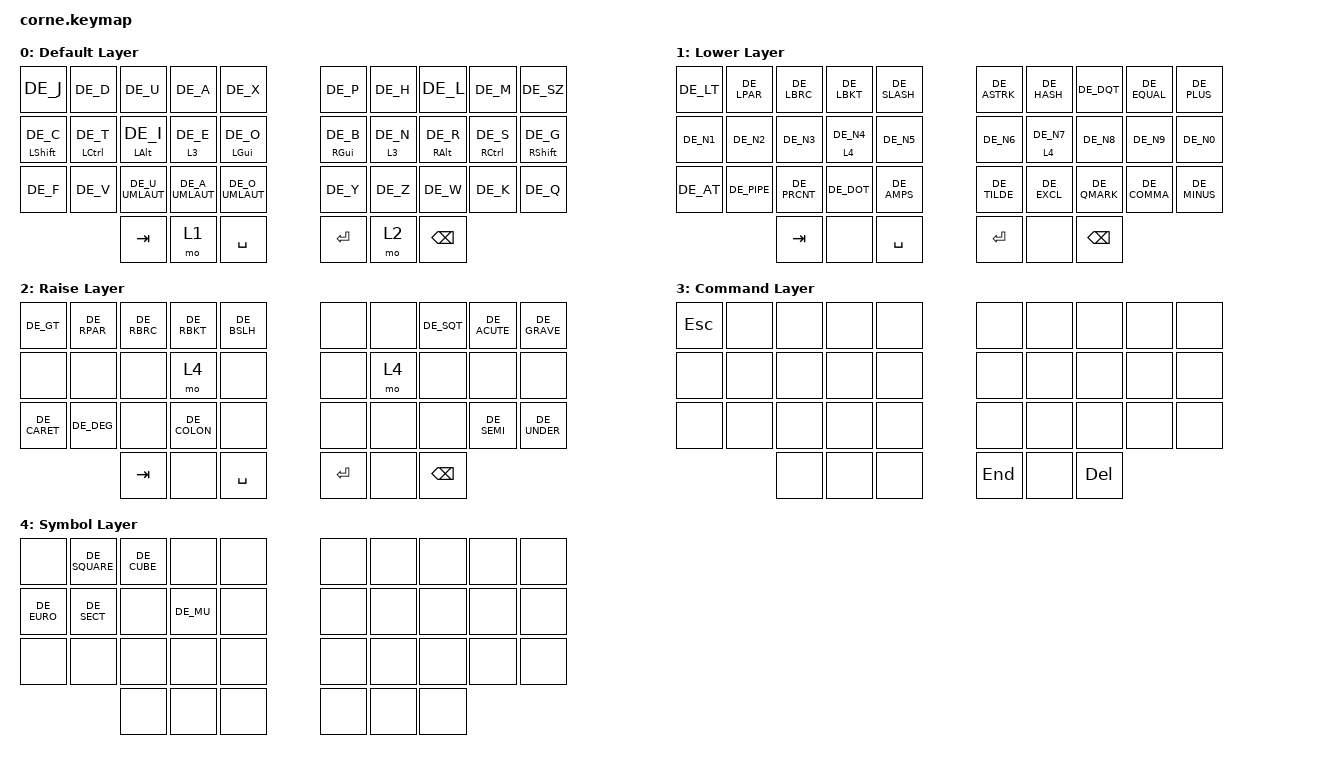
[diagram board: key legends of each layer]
/*
 * Copyright (c) 2020 The ZMK Contributors
 *
 * SPDX-License-Identifier: MIT
 */
//additional includes

#include <dt-bindings/zmk/behaviors.h>
#include <behaviors.dtsi>
#include <dt-bindings/zmk/keys.h>
#include <dt-bindings/zmk/bt.h>

//additional includes
#include "keys_de.h"
#include <dt-bindings/zmk/behaviors.h>

/* Custom Defined Behaviors */

/ {
    chosen { zmk,matrix_transform = &five_column_transform; };

    behaviors {
        hml: home_row_mod_left {
            compatible = "zmk,behavior-hold-tap";
            #binding-cells = <2>;
            flavor = "balanced";
            require-prior-idle-ms = <150>;
            tapping-term-ms = <280>;
            quick-tap-ms = <175>;
            bindings = <&kp>, <&kp>;

            hold-trigger-key-positions = <6 7 8 9 10 11>; // List of keys on the right side of the keyboard
            hold-trigger-on-release;
        };

        hmr: home_row_mod_right {
            compatible = "zmk,behavior-hold-tap";
            #binding-cells = <2>;
            flavor = "balanced";
            require-prior-idle-ms = <150>;
            tapping-term-ms = <280>;
            quick-tap-ms = <175>;
            bindings = <&kp>, <&kp>;

            hold-trigger-key-positions = <0 1 2 3 4 5>; // List of keys on the left side of the keyboard
            hold-trigger-on-release;
        };
    };

    keymap {
        compatible = "zmk,keymap";

        // 0

        default_layer {
            display-name = "Default Layer";

            // -----------------------------------------------------------------------------------------
            // | SHFT| CRTL| ALT | CMD | WDS |   | WDS | CMD | ALT | CRTL|RSHFT|
            //
            // |  J  |  D  |  U  |  A  |  X  |   |  P  |  H  |  L  |  M  |  ß  |
            // |  C  |  T  |  I  |  E  |  O  |   |  B  |  N  |  R  |  S  |  G  |
            // |  F  |  V  |  Ü  |  Ä  |  Ö  |   |  Y  |  Z  |  W  |  K  |  Q  |
            //             | TAB | LWR | SPC |   | ENT | RSE | BSPC|

            bindings = <
  &kp DE_J         &kp DE_D         &kp DE_U         &kp DE_A         &kp DE_X             &kp DE_P        &kp DE_H    &kp DE_L        &kp DE_M         &kp DE_SZ
  &hml LSHFT DE_C  &hml LCTRL DE_T  &hml LALT DE_I   &lt 3 DE_E       &hml LGUI DE_O       &hmr RGUI DE_B  &lt 3 DE_N  &hmr RALT DE_R  &hmr RCTRL DE_S  &hmr RSHFT DE_G
  &kp DE_F         &kp DE_V         &kp DE_U_UMLAUT  &kp DE_A_UMLAUT  &kp DE_O_UMLAUT      &kp DE_Y        &kp DE_Z    &kp DE_W        &kp DE_K         &kp DE_Q
                                    &kp TAB          &mo 1            &kp SPACE            &kp RET      &mo 2    &kp BSPC
            >;
        };

        // 1

        lower_layer {
            display-name = "Lower Layer";

            // -----------------------------------------------------------------------------------------
            // | SHFT| CRTL| ALT | SMB | WDS |   | WDS | SMB | ALT | CRTL|RSHFT|
            //
            // |  <  |  (  |  {  |  [  |  /  |   |  *  |  #  |  "  |  =  |  +  |
            // |  1  |  2  |  3  |  4  |  5  |   |  6  |  7  |  8  |  9  |  0  |
            // |  @  |  |  |  %  |  .  |  &  |   |  ~  |  !  |  ?  |  ,  |  -  |
            //             | TAB | LWR | SPC |   | ENT | RSE | BSPC|

            bindings = <
  &kp DE_LT  &kp DE_LPAR  &kp DE_LBRC   &kp DE_LBKT    &kp DE_SLASH      &kp DE_ASTRK  &kp DE_HASH    &kp DE_DQT    &kp DE_EQUAL     &kp DE_PLUS
  &kp DE_N1  &kp DE_N2    &kp DE_N3     &lt 4 DE_N4    &kp DE_N5         &kp DE_N6     &lt 4 DE_N7    &kp DE_N8     &kp DE_N9     &kp DE_N0
  &kp DE_AT  &kp DE_PIPE  &kp DE_PRCNT  &kp DE_DOT     &kp DE_AMPS       &kp DE_TILDE  &kp DE_EXCL    &kp DE_QMARK  &kp DE_COMMA  &kp DE_MINUS
                          &kp TAB       &none          &kp SPACE         &kp RET       &none          &kp BSPC
            >;
        };

        // 2

        raise_layer {
            display-name = "Raise Layer";

            // -----------------------------------------------------------------------------------------
            // | SHFT| CRTL| ALT | SMB | WDS |   | WDS | SMB | ALT | CRTL|RSHFT|
            //
            // |  >  |  )  |  }  |  ]  |  \  |   |     |     |  '  |  ´  |  `  |
            // |     |     |     |     |     |   |     |     |     |     |     |
            // |  ^  |  °  |     |  :  |     |   |     |     |     |  ;  |  _  |
            //             | TAB | LWR | SPC |   | ENT | RSE | BSPC|

            bindings = <
  &kp DE_GT     &kp DE_RPAR  &kp DE_RBRC  &kp DE_RBKT   &kp DE_BSLH    &none  &none  &kp DE_SQT  &kp DE_ACUTE  &kp DE_GRAVE
  &none         &none        &none        &mo 4         &none          &none  &mo 4  &none       &none         &none
  &kp DE_CARET  &kp DE_DEG   &none        &kp DE_COLON  &none          &none  &none  &none       &kp DE_SEMI   &kp DE_UNDER
                             &kp TAB      &none         &kp SPACE      &kp RET       &none       &kp BSPC
            >;
        };

        // 3

        cmd_layer {
            display-name = "Command Layer";

            // -----------------------------------------------------------------------------------------
            // | SHFT| CRTL| ALT | CMD | WDS |   | WDS | CMD | ALT | CRTL|RSHFT|
            //
            // | ESC |     |     |     |     |   |     |     |POS1 |     | PUp |
            // | c A | c D | c X | c C | c V |   |     | UP  |     | ENT |     |
            // |     |     |     |     |     |   |LEFT |DOWN |RIGHT|     |PDown|
            //             | c Z |     | c Y |   | END |     | DEL |

            bindings = <
  &kp ESC  &none  &none  &none  &none    &none    &none  &none    &none  &none
  &none    &none  &none  &none  &none    &none    &none  &none    &none  &none
  &none    &none  &none  &none  &none    &none    &none  &none    &none  &none
                  &none  &none  &none    &kp END  &none  &kp DEL
            >;
        };

        // 4

        snd_layer {
            display-name = "Symbol Layer";

            // -----------------------------------------------------------------------------------------
            // | SHFT| CRTL| ALT | CMD | WDS |   | WDS | CMD | ALT | CRTL|RSHFT|
            //
            // |     |  ²  |  ³  |     |     |   |     | F1  | F2  | F3  | F4  |
            // |  €  |  §  |  $  |  µ  |     |   |     | F5  | F6  | F7  | F8  |
            // |     |     |     |     |     |   |     | F9  | F10 | F11 | F12 |
            //             |     |     |     |   |     |     |     |

            bindings = <
  &none        &kp DE_SQUARE  &kp DE_CUBE  &none      &none    &none  &none  &none  &none  &none
  &kp DE_EURO  &kp DE_SECT    &none        &kp DE_MU  &none    &none  &none  &none  &none  &none
  &none        &none          &none        &none      &none    &none  &none  &none  &none  &none
                              &none        &none      &none    &none  &none  &none
            >;
        };
    };
};
